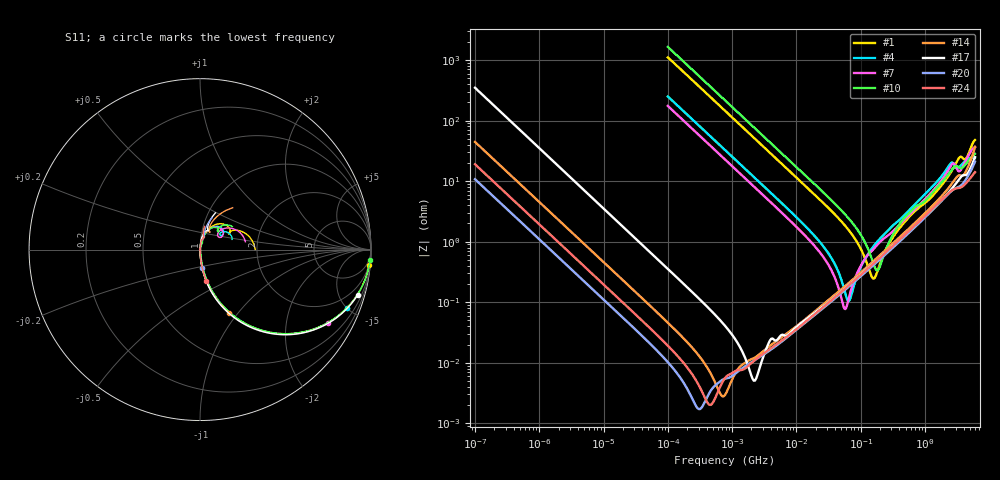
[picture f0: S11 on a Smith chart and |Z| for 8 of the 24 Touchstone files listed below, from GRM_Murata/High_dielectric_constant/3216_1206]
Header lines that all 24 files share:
!These Parameters are Measured in Series Mode Connection
!Data Generated on Mar 30, 2021
!  o--ll--o
!Port1  Port2
!  o------o
!Operation Temp=25[degC], DC Bias Voltage=0[V]
# Hz S RI R 50
!Freq.(Hz) S11(Real) S11(Imag) S21(Real) S21(Imag) S12(Real) S12(Imag) S22(Real) S22(Imag)
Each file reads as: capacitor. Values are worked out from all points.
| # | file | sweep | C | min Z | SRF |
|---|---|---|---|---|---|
| 1 | GRM31AR72J152KW01.s2p | 100 kHz to 6 GHz | 1.43 nF | 245 mohm | 158.9 MHz |
| 2 | GRM31AR72J222KW01.s2p | 100 kHz to 6 GHz | 1.94 nF | 204 mohm | 120.1 MHz |
| 3 | GRM31AR72J472KW01.s2p | 100 kHz to 6 GHz | 4.52 nF | 126 mohm | 83.4 MHz |
| 4 | GRM31AR72J682KW01.s2p | 100 kHz to 6 GHz | 6.35 nF | 104 mohm | 64.85 MHz |
| 5 | GRM31BR72E153KW01.s2p | 100 kHz to 6 GHz | 14.4 nF | 98.3 mohm | 41.97 MHz |
| 6 | GRM31BR72E683KW01.s2p | 100 kHz to 6 GHz | 64.7 nF | 32.1 mohm | 21.34 MHz |
| 7 | GRM31BR72J103KW01.s2p | 100 kHz to 6 GHz | 9.09 nF | 77.1 mohm | 57.33 MHz |
| 8 | GRM31BR72J152KW01.s2p | 100 kHz to 6 GHz | 1.39 nF | 312 mohm | 144.6 MHz |
| 9 | GRM31BR72J472KW01.s2p | 100 kHz to 6 GHz | 4.44 nF | 116 mohm | 82.84 MHz |
| 10 | GRM31BR73A102KW01.s2p | 100 kHz to 6 GHz | 962 pF | 335 mohm | 180.6 MHz |
| 11 | GRM31CB3YA106KA12.s2p | 100 Hz to 6 GHz | 7.93 uF | 4.73 mohm | 1.744 MHz |
| 12 | GRM31CB10J475KA01.s2p | 100 Hz to 6 GHz | 4.73 uF | 4.99 mohm | 2.26 MHz |
| 13 | GRM31CB11C475KA01.s2p | 100 Hz to 6 GHz | 4.53 uF | 5.38 mohm | 2.322 MHz |
| 14 | GRM31CB30J476KE18.s2p | 100 Hz to 6 GHz | 35.7 uF | 2.79 mohm | 749.2 kHz |
| 15 | GRM31CB31A226ME19.s2p | 100 Hz to 6 GHz | 17.4 uF | 3.46 mohm | 1.129 MHz |
| 16 | GRM31CB31C106KA88.s2p | 100 Hz to 6 GHz | 9.47 uF | 4.41 mohm | - |
| 17 | GRM31CB31H475MA12.s2p | 100 Hz to 6 GHz | 4.55 uF | 5.07 mohm | 2.264 MHz |
| 18 | GRM31CC71C226ME11.s2p | 100 Hz to 6 GHz | 15.7 uF | 3.59 mohm | 1.211 MHz |
| 19 | GRM31CC71E226ME15.s2p | 100 Hz to 6 GHz | 15.3 uF | 3.46 mohm | 1.228 MHz |
| 20 | GRM31CC80E227ME11.s2p | 100 Hz to 6 GHz | 148 uF | 1.72 mohm | 328.9 kHz |
| 21 | GRM31CC81E106MA12.s2p | 100 Hz to 6 GHz | 6.8 uF | 4.86 mohm | - |
| 22 | GRM31CC81E226KE11.s2p | 100 Hz to 6 GHz | 16.3 uF | 3.76 mohm | 1.18 MHz |
| 23 | GRM31CD7YA106KE11.s2p | 100 Hz to 6 GHz | 9.67 uF | 4.05 mohm | 1.593 MHz |
| 24 | GRM31CD80J107MEA8.s2p | 100 Hz to 6 GHz | 83.5 uF | 2.01 mohm | 475.6 kHz |
